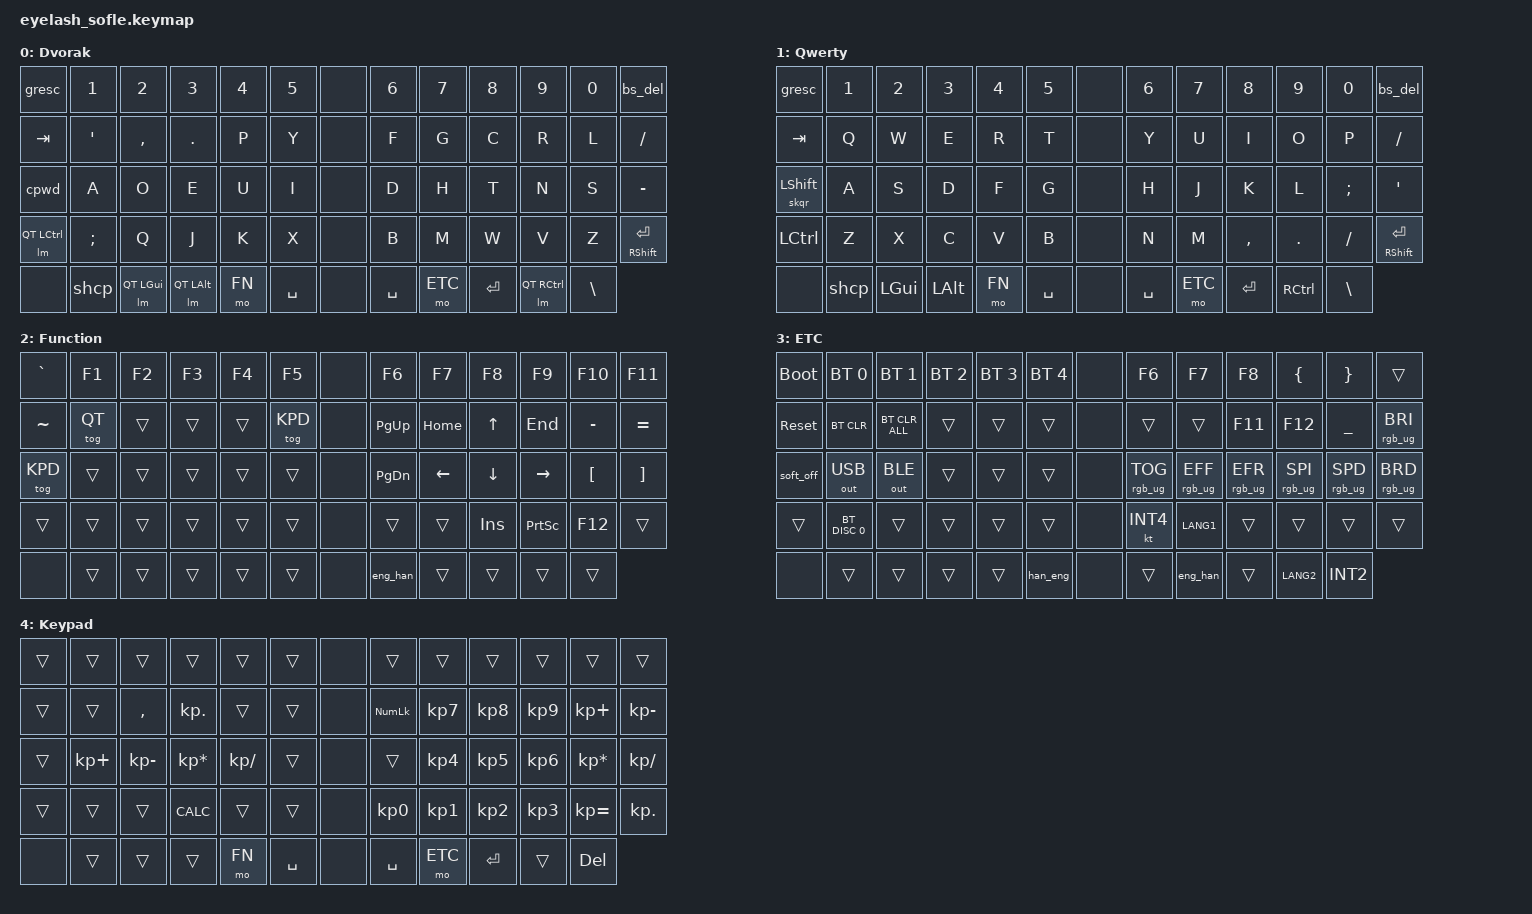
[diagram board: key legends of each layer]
// 26.03.03
// 일단, M1+SPC(韓), M2+SPC(英) 로 전환되게끔 만들어놨다.
// 키감을 극복하느냐가 관건.
// 자세한 사항은 Obsidian 'Hardware/ZMK 한영(韓英) 전환 방식' 을 읽어봐.



// 아래도 마우스 관련 설정.
// #define ZMK_POINTING_DEFAULT_MOVE_VAL 1200  // 600
// #define ZMK_POINTING_DEFAULT_SCRL_VAL 25   // 10

// Layer 이름 정의
#define DV  0    // Dvorak Layer
#define QT  1    // Qwerty Layer
#define FN  2    // Function Layer
#define ETC 3    // ETC Layer
#define KPD 4    // Keypad Layer

#include <input/processors.dtsi>
#include <zephyr/dt-bindings/input/input-event-codes.h>
#include <behaviors.dtsi>
#include <dt-bindings/zmk/bt.h>
#include <dt-bindings/zmk/keys.h>
#include <dt-bindings/zmk/outputs.h>
// #include <dt-bindings/zmk/pointing.h>  // 마우스 기능 흉내낼 때 사용.
#include <dt-bindings/zmk/rgb.h>
// backlight 가 정확히 뭘하는 건진 모르겠는데, 이걸 켜면 Display 가 안보이게 된다.
// 키보드에 불이 들어오진 않는다.
//#include <dt-bindings/zmk/backlight.h>

// &mmv_input_listener { input-processors = <&zip_xy_scaler 2 1>; };

// &msc_input_listener { input-processors = <&zip_scroll_scaler 2 1>; };

// &msc {
//     acceleration-exponent = <1>;      // 0
//     time-to-max-speed-ms = <100>;       // 300
//     delay-ms = <0>;                   // 0
// };
//
// &mmv {
//     time-to-max-speed-ms = <500>;
//     acceleration-exponent = <1>;
//     trigger-period-ms = <16>;
// };

&soft_off { hold-time-ms = <2000>; };
&mt { tapping-term-ms = <200>; };




/ {
    // 이건 나한테 없는듯? msc 는 마우스 스크롤을 말하는 건데..?
    // scroll_encoder: scroll_encoder {
    //     compatible = "zmk,behavior-sensor-rotate";
    //     #sensor-binding-cells = <0>;
    //     bindings = <&msc SCRL_DOWN>, <&msc SCRL_UP>;
    //
    //     tap-ms = <100>;
    // };

    behaviors {
      gresc: grave_escape { // 구글에서 찾음. 그냥 누르면 ESC; Shift+ESC:`(Grave)
            compatible = "zmk,behavior-mod-morph";
            #binding-cells = <0>;
            bindings = <&kp ESC>, <&kp GRAVE>;
            mods = <(MOD_LSFT|MOD_RSFT)>;
        };

      /* rsent: rshift_enter { // 누르면 Enter, 누르고 있으면 RSHFT
            compatible = "zmk,behavior-mod-morph";
            #binding-cells = <2>;
            bindings = <&kp ESC>, <&kp GRAVE>;
            mods = <(MOD_LSFT|MOD_RSFT)>;
      }; */

      bs_del: backspace_delete { // https://v0-3-branch.zmk.dev/docs/keymaps/behaviors/mod-morph
                                   // 그냥 BS; LSHFT+BS:Del; RSHFT+BS: RSHFT + Del.
                                   // mac 이 이런 방식이지 않나..?
            compatible = "zmk,behavior-mod-morph";
            #binding-cells = <0>;
            bindings = <&kp BACKSPACE>, <&kp DELETE>;
            mods = <(MOD_LSFT|MOD_RSFT)>;
            keep-mods = <(MOD_RSFT)>;
        };

      // sh_spc: shift_space_kor_eng { // shift+space 로 한/영 전환. 여기는 그냥 shift+space 를 인식만 하게끔 하고,
      //                               // 실제 전환은 매크로에서.
      //       compatible = "zmk,behavior-mod-morph";
      //       #binding-cells = <0>;
      //       bindings = <&kp SPACE>; <&han_eng>;
      //       mods = <(MOD_LSFT)>;
      // };

      // 이유는 모르겠으나, 이거 잘 안된다.
      // 이걸 CapsLock 쪽에 넣어놨었는데, Sofle 에선 잘 작동하지 않는다.
      // 딱 첫글자에만 작동한다.
      // 오히려 연결해놨던 Feker 나 Logitech 에선 제대로 작동했다. 뭐지..??
      // 뭔가 다른 설정과 충돌을 하는듯..? release-after-ms 를 2초로 늘려도 마찬가지.
      // quick-release 를 해주나 안해주나 결과는 같다. 즉, 안된다.
      skqr: sticky_key_quick_release { // 잘 안됨!
          compatible = "zmk,behavior-sticky-key";
          label = "STICKY_KEY_QUICK_RELEASE";
          #binding-cells = <1>;
          bindings = <&kp>;
          release-after-ms = <1000>;
          quick-release;
          ignore-modifiers;
        };

      shcp: shift_capslock { // 한번 shift, 두번은 CapsLock. 0.2sec 이므로 상당히 빠르게 눌러야 한다.
          compatible = "zmk,behavior-tap-dance";
          #binding-cells = <0>;
          tapping-term-ms = <200>;
          bindings = <&kp LSHFT>, <&kp CAPS>;
        };

        // Caps word: 영문자/숫자를 입력할 동안은 Capital lock ON. 이후 특정 키가 입력되면 Caps Lock Off.
      cpwd: caps_word {
          compatible = "zmk,behavior-caps-word";
          label = "CAPS_WORD";
          #binding-cells = <0>;
          continue-list = <UNDERSCORE MINUS>; // 이 키들은 Caps-Word 를 깨뜨리지 않음.
        };
    };

    combos {
        compatible = "zmk,combos";

        softoff {
            bindings = <&soft_off>;
            key-positions = <14 28 40>;   // Q S Z 동시에 누르면 Soft Off 진입.
        };
    };

    macros {
      // 정확히는 모르겠으나, Shift + 마우스 가운데클릭인 듯.. 정의만 돼 있고 쓰이진 않았다.
        // SHIFT_MCLK: SHIFT_MCLK {
        //     compatible = "zmk,behavior-macro";
        //     #binding-cells = <0>;
        //     bindings =
        //         <&macro_press>,
        //         <&kp LEFT_SHIFT>,
        //         <&macro_press>,
        //         <&mkp MB3>,
        //         <&macro_pause_for_release>,
        //         <&macro_release>,
        //         <&kp LEFT_SHIFT &mkp MB3>;
        //
        //     label = "SHIFT_MCLK";
        // };


        // QMK lm 명령 구현. (이게 기본 지원이 안되냐..?)
        // https://v0-3-branch.zmk.dev/docs/keymaps/behaviors/macros#layer-activation--more
        // 쓰기는 하겠지만, 코드를 이해하진 못하겠네. --> 이제 이해된다. Obsidian, 아래 항목을 봐.
        // 사용: %lm QT LCTRL
      lm: layer_modifier {
          compatible = "zmk,behavior-macro-two-param";
          wait-ms = <0>;
          tap-ms = <0>;
          #binding-cells = <2>; // 이게 2 라는 의미는 Obsidian 'Hardware/ZMK binding-cells 의미 ' 을 봐.
          bindings
              = <&macro_param_1to1>
              , <&macro_press &mo MACRO_PLACEHOLDER>
              , <&macro_param_2to1>
              , <&macro_press &kp MACRO_PLACEHOLDER>
              , <&macro_pause_for_release>
              , <&macro_param_2to1>
              , <&macro_release &kp MACRO_PLACEHOLDER>
              , <&macro_param_1to1>
              , <&macro_release &mo MACRO_PLACEHOLDER>
              ;
      };

      han_eng: hangul_english_change { // 한글에서 영문으로.
          compatible = "zmk,behavior-macro";
          #binding-cells = <0>;
          tap-ms = <10>; // 키를 연달아 보낼 땐 tap-ms 가 꼭 있어야 하는 듯.. 없으면 오류발생.
          bindings = <&to DV>, <&kp INT4>;
      };

      eng_han: english_hangul_change { // 한글에서 영문으로.
          compatible = "zmk,behavior-macro";
          #binding-cells = <0>;
          tap-ms = <10>; // macro 에선 tap-ms 가 꼭 있어야 하는 듯.. 없으면 오류발생.
          bindings = <&to QT>, <&kp LANG1>;
      };

    };

    /* // 이게 되면, 일반 방법(&to, &tog 등)으로는 전환이 안된다.
    conditional_layers { // 그냥 연습용으로 만들어봤음. Fn/ETC 레이어가 동시에 켜지면, Keypad 가 활성화된다. 물론, 누르고 있는 동안만.
        compatible = "zmk,conditional-layers";
        try_layers {
          if-layers = <2 3>;
          then-layer = <4>;
        };
    }; */

    // Layer 는 아래에 표기된 순서대로 번호가 매겨진다. 차례대로 Layer 0, Layer 1, Layer 2 ... 순.
    // &trans : 하위 레이어의 그 자리를 그대로.
    // &none  : 키 무시.
    keymap {
        compatible = "zmk,keymap";

        Dvorak_layer { // Layer 0
            bindings = <
&gresc        &kp N1        &kp N2       &kp N3       &kp N4    &kp N5       &none     &kp N6     &kp N7     &kp N8     &kp N9        &kp N0      &bs_del
&kp TAB       &kp APOS      &kp COMMA    &kp DOT      &kp P     &kp Y        &none     &kp F      &kp G      &kp C      &kp R         &kp L       &kp FSLH
&cpwd         &kp A         &kp O        &kp E        &kp U     &kp I        &none     &kp D      &kp H      &kp T      &kp N         &kp S       &kp MINUS
&lm QT LCTRL  &kp SEMI      &kp Q        &kp J        &kp K     &kp X        &none     &kp B      &kp M      &kp W      &kp V         &kp Z       &mt RSHFT ENTER
&none         &shcp         &lm QT LGUI  &lm QT LALT  &mo FN    &kp SPACE    &none     &kp SPACE  &mo ETC    &kp ENTER  &lm QT RCTRL  &kp BSLH
            >;

            // sensor-bindings = <&inc_dec_kp C_VOLUME_UP C_VOL_DN>; // 이건 아마도 내 거엔 필요 없을 듯?
            display-name = "Dvorak";
        };

        Qwerty_layer { // Layer 1, QT Layer
            bindings = <
&gresc      &kp N1     &kp N2        &kp N3        &kp N4     &kp N5       &none     &kp N6     &kp N7     &kp N8     &kp N9     &kp N0      &bs_del
&kp TAB     &kp Q      &kp W         &kp E         &kp R      &kp T        &none     &kp Y      &kp U      &kp I      &kp O      &kp P       &kp FSLH
&skqr LSHFT &kp A      &kp S         &kp D         &kp F      &kp G        &none     &kp H      &kp J      &kp K      &kp L      &kp SEMI    &kp APOS
&kp LCTRL   &kp Z      &kp X         &kp C         &kp V      &kp B        &none     &kp N      &kp M      &kp COMMA  &kp DOT    &kp FSLH    &mt RSHFT ENTER
&none       &shcp      &kp LGUI      &kp LALT      &mo FN     &kp SPACE    &none     &kp SPACE  &mo ETC    &kp ENTER  &kp RCTRL  &kp BSLH
            >;

            // sensor-bindings = <&inc_dec_kp C_VOLUME_UP C_VOL_DN>; // 이건 아마도 내 거엔 필요 없을 듯?
            display-name = "Qwerty";
        };

        Function_layer { // Layer 2, FN Layer
            bindings = <
&kp GRAVE   &kp F1           &kp F2          &kp F3           &kp F4           &kp F5        &none      &kp F6           &kp F7           &kp F8      &kp F9     &kp F10           &kp F11
&kp TILDE   &tog QT          &trans          &trans           &trans           &tog KPD      &none      &kp PG_UP        &kp HOME         &kp UP      &kp END    &kp MINUS         &kp EQUAL
&tog KPD    &trans           &trans          &trans           &trans           &trans        &none      &kp PG_DN        &kp LEFT         &kp DOWN    &kp RIGHT  &kp LEFT_BRACKET  &kp RIGHT_BRACKET
&trans      &trans           &trans          &trans           &trans           &trans        &none      &trans           &trans           &kp INSERT  &kp PSCRN  &kp F12           &trans
&none       &trans           &trans          &trans           &trans           &trans        &none      &eng_han         &trans           &trans      &trans     &trans
            >;

            display-name = "Function";
            // sensor-bindings = <&scroll_encoder>;
        };
        // &bootloader/&sys_reset/&soft_off 등은 오른쪽에선 잘 작동하지 않는다. 따라서 굳이 넣어놓을 필요가 없다.
        // 처음엔 오른쪽 끝 키들에 배열했었다.
        ETC_Layer { // Layer 3
            bindings = <
&bootloader  &bt BT_SEL 0   &bt BT_SEL 1    &bt BT_SEL 2  &bt BT_SEL 3  &bt BT_SEL 4    &none    &kp F6           &kp F7           &kp F8           &kp LBRC         &kp RBRC         &trans
&sys_reset   &bt BT_CLR     &bt BT_CLR_ALL  &trans        &trans        &trans          &none    &trans           &trans           &kp F11          &kp F12          &kp UNDER        &rgb_ug RGB_BRI
&soft_off    &out OUT_USB   &out OUT_BLE    &trans        &trans        &trans          &none    &rgb_ug RGB_TOG  &rgb_ug RGB_EFF  &rgb_ug RGB_EFR  &rgb_ug RGB_SPI  &rgb_ug RGB_SPD  &rgb_ug RGB_BRD
&trans       &bt BT_DISC 0  &trans          &trans        &trans        &trans          &none    &kt INT4         &kp LANG1        &trans           &trans           &trans           &trans
&none        &trans         &trans          &trans        &trans        &han_eng        &none    &trans           &eng_han         &trans           &kp LANG2        &kp INT2
            >;

            display-name = "ETC";
            // sensor-bindings = <&scroll_encoder>;
        };

        KeyPad_Layer { // Layer 4, Number Keypad Layer
            bindings = <
&trans  &trans       &trans        &trans           &trans         &trans     &none    &trans      &trans     &trans     &trans     &trans           &trans
&trans  &trans       &kp COMMA     &kp KP_DOT       &trans         &trans     &none    &kp KP_NUM  &kp KP_N7  &kp KP_N8  &kp KP_N9  &kp KP_PLUS      &kp KP_MINUS
&trans  &kp KP_PLUS  &kp KP_MINUS  &kp KP_MULTIPLY  &kp KP_DIVIDE  &trans     &none    &trans      &kp KP_N4  &kp KP_N5  &kp KP_N6  &kp KP_MULTIPLY  &kp KP_DIVIDE
&trans  &trans       &trans        &kp K_CALC       &trans         &trans     &none    &kp KP_N0   &kp KP_N1  &kp KP_N2  &kp KP_N3  &kp KP_EQUAL     &kp KP_DOT
&none   &trans       &trans        &trans           &mo FN         &kp SPC    &none    &kp SPC     &mo ETC    &kp ENTER  &trans     &kp DEL
            >;

            display-name = "Keypad";
            // sensor-bindings = <&scroll_encoder>;
        };

        /* layer_4 {
            bindings = <
&trans  &trans  &trans  &trans  &trans  &trans    &trans  &trans  &trans  &trans  &trans  &trans  &trans
&trans  &trans  &trans  &trans  &trans  &trans    &trans  &trans  &trans  &trans  &trans  &trans  &trans
&trans  &trans  &trans  &trans  &trans  &trans    &trans  &trans  &trans  &trans  &trans  &trans  &trans
&trans  &trans  &trans  &trans  &trans  &trans    &trans  &trans  &trans  &trans  &trans  &trans  &trans
&trans  &trans  &trans  &trans  &trans  &trans    &trans  &trans  &trans  &trans  &trans  &trans
            >;

            display-name = "layer4";
            // sensor-bindings = <&scroll_encoder>;
        }; */
    };
};


